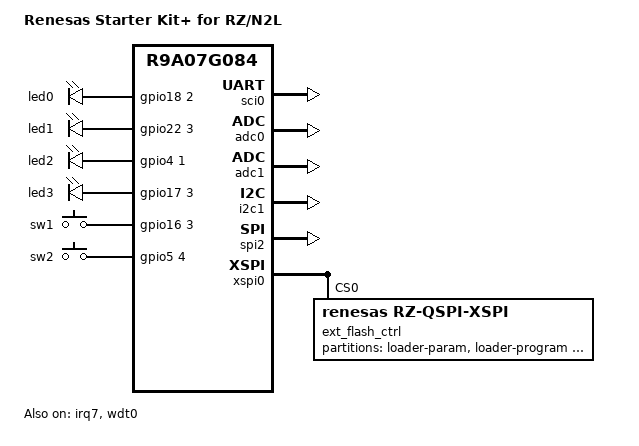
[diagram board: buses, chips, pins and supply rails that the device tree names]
/*
 * Copyright (c) 2025 Renesas Electronics Corporation
 * SPDX-License-Identifier: Apache-2.0
 */

/dts-v1/;
#include <arm/renesas/rz/rzn/r9a07g084.dtsi>
#include "rzn2l_rsk-pinctrl.dtsi"
#include <zephyr/dt-bindings/input/input-event-codes.h>

/ {
	model = "Renesas Starter Kit+ for RZ/N2L";
	compatible = "renesas,rzn2l-rsk";

	chosen {
		zephyr,sram = &atcm;
		zephyr,flash = &mx25u51245g;
		zephyr,code-partition = &slot0_partition;
		zephyr,console = &uart0;
		zephyr,shell-uart = &uart0;
	};

	aliases {
		led0 = &led0;
		led1 = &led1;
		sw0 = &sw1;
		watchdog0 = &wdt0;
	};

	leds {
		compatible = "gpio-leds";

		led0: led0 {
			gpios = <&gpio18 2 0>;
			label = "led0";
		};

		led1: led1 {
			gpios = <&gpio22 3 0>;
			label = "led1";
		};

		led2: led2 {
			gpios = <&gpio4 1 0>;
			label = "led2";
		};

		led3: led3 {
			gpios = <&gpio17 3 0>;
			label = "led3";
		};
	};

	gpio_keys {
		compatible = "gpio-keys";

		sw1: sw1 {
			label = "sw1";
			gpios = <&gpio16 3 0>;
			zephyr,code = <INPUT_KEY_0>;
		};

		sw2: sw2 {
			label = "sw2";
			gpios = <&gpio5 4 0>;
			zephyr,code = <INPUT_KEY_1>;
		};
	};
};

&sci0 {
	pinctrl-0 = <&sci0_default>;
	pinctrl-names = "default";
	status = "okay";

	uart0: uart {
		current-speed = <115200>;
		status = "okay";
	};
};

&gpio18 {
	status = "okay";
};

&gpio22 {
	status = "okay";
};

&gpio4 {
	status = "okay";
};

&gpio17 {
	status = "okay";
};

&irq7 {
	trigger-type = "falling";
	pinctrl-0 = <&irq7_default>;
	pinctrl-names = "default";
	status = "okay";
};

&gpio16 {
	irqs = <&irq7 3>;
	status = "okay";
};

&gpio5 {
	status = "okay";
};

&adc0 {
	status = "okay";
};

&adc1 {
	status = "okay";
};

&i2c1 {
	pinctrl-0 = <&i2c1_default>;
	pinctrl-names = "default";
	status = "okay";
};

&spi2 {
	pinctrl-0 = <&spi2_pins>;
	pinctrl-names = "default";
	status = "okay";
};

&wdt0 {
	status = "okay";
};

&xspi0 {
	pinctrl-0 = <&xspi0_default>;
	pinctrl-names = "default";
	status = "okay";

	ext_flash_ctrl: flash-controller@0 {
		compatible = "renesas,rz-qspi-xspi";
		reg = <0>;
		status = "okay";
		#address-cells = <1>;
		#size-cells = <1>;
		ranges = <0x0 0x60000000 DT_SIZE_M(64)>;

		mx25u51245g: qspi-nor-flash@0 {
			compatible = "soc-nv-flash";
			reg = <0x0 DT_SIZE_M(64)>;
			write-block-size = <1>;
			erase-block-size = <4096>;

			ranges;
			#address-cells = <1>;
			#size-cells = <1>;

			partitions {
				ranges;
				#address-cells = <1>;
				#size-cells = <1>;

				loader_param: partition@0 {
					compatible = "zephyr,mapped-partition";
					label = "loader-param";
					reg = <0x00000000 0x4c>;
					read-only;
				};

				loader_program: partition@4c {
					compatible = "zephyr,mapped-partition";
					label = "loader-program";
					reg = <0x0000004c (DT_SIZE_K(56) - 0x4C)>;
					read-only;
				};

				slot0_partition: partition@e000 {
					compatible = "zephyr,mapped-partition";
					label = "image-0";
					reg = <0x0000e000 DT_SIZE_M(4)>;
					read-only;
				};

				storage_partition: partition@40e000 {
					compatible = "zephyr,mapped-partition";
					label = "storage";
					reg = <0x0040e000
					       (DT_SIZE_M(64) - DT_SIZE_M(4) - DT_SIZE_K(56))>;
				};
			};
		};
	};
};
